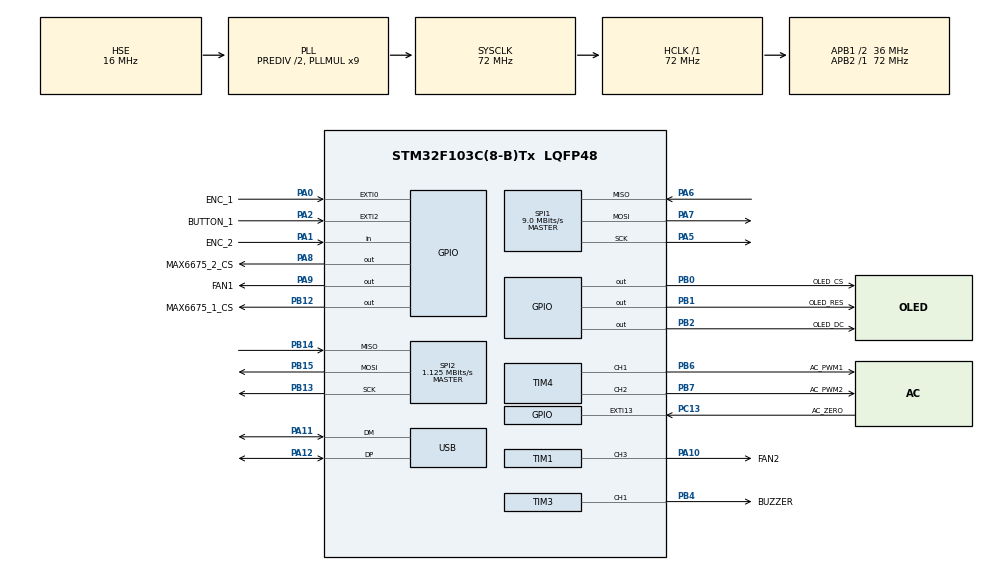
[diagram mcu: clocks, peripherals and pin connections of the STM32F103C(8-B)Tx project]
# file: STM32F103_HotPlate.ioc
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Dma.Request0=SPI1_TX
Dma.Request1=SPI2_RX
Dma.SPI1_TX.0.Direction=DMA_MEMORY_TO_PERIPH
Dma.SPI1_TX.0.Instance=DMA1_Channel3
Dma.SPI1_TX.0.MemDataAlignment=DMA_MDATAALIGN_BYTE
Dma.SPI1_TX.0.MemInc=DMA_MINC_ENABLE
Dma.SPI1_TX.0.Mode=DMA_NORMAL
Dma.SPI1_TX.0.PeriphDataAlignment=DMA_PDATAALIGN_BYTE
Dma.SPI1_TX.0.PeriphInc=DMA_PINC_DISABLE
Dma.SPI1_TX.0.Priority=DMA_PRIORITY_LOW
Dma.SPI2_RX.1.Direction=DMA_PERIPH_TO_MEMORY
Dma.SPI2_RX.1.Instance=DMA1_Channel4
Dma.SPI2_RX.1.MemDataAlignment=DMA_MDATAALIGN_BYTE
Dma.SPI2_RX.1.MemInc=DMA_MINC_ENABLE
Dma.SPI2_RX.1.Mode=DMA_NORMAL
Dma.SPI2_RX.1.PeriphDataAlignment=DMA_PDATAALIGN_BYTE
Dma.SPI2_RX.1.PeriphInc=DMA_PINC_DISABLE
Dma.SPI2_RX.1.Priority=DMA_PRIORITY_LOW
Mcu.Family=STM32F1
Mcu.Name=STM32F103C(8-B)Tx
Mcu.Package=LQFP48
NVIC.DMA1_Channel3_IRQn=true\:0\:0\:false\:false\:true\:false\:true\:true
NVIC.DMA1_Channel4_IRQn=true\:0\:0\:false\:false\:true\:false\:true\:true
NVIC.EXTI0_IRQn=true\:0\:0\:false\:false\:true\:true\:true\:true
NVIC.EXTI15_10_IRQn=true\:0\:0\:false\:false\:true\:true\:true\:true
NVIC.EXTI2_IRQn=true\:0\:0\:false\:false\:true\:true\:true\:true
NVIC.PriorityGroup=NVIC_PRIORITYGROUP_4
NVIC.SPI1_IRQn=true\:0\:0\:false\:false\:true\:true\:true\:true
NVIC.TIM2_IRQn=true\:0\:0\:false\:false\:true\:true\:true\:true
NVIC.USB_LP_CAN1_RX0_IRQn=true\:0\:0\:false\:false\:true\:true\:true\:true
PA0-WKUP.GPIO_Label=ENC_1
PA0-WKUP.Signal=GPXTI0
PA1.GPIO_Label=ENC_2
PA1.Signal=GPIO_Input
PA10.GPIO_Label=FAN2
PA10.Signal=S_TIM1_CH3
PA11.Mode=Device
PA11.Signal=USB_DM
PA12.Mode=Device
PA12.Signal=USB_DP
PA13.Mode=Serial_Wire
PA13.Signal=SYS_JTMS-SWDIO
PA14.Mode=Serial_Wire
PA14.Signal=SYS_JTCK-SWCLK
PA2.GPIO_Label=BUTTON_1
PA2.GPIO_ModeDefaultEXTI=GPIO_MODE_IT_RISING
PA2.GPIO_PuPd=GPIO_NOPULL
PA2.Signal=GPXTI2
PA5.Mode=Full_Duplex_Master
PA5.Signal=SPI1_SCK
PA6.Mode=Full_Duplex_Master
PA6.Signal=SPI1_MISO
PA7.Mode=Full_Duplex_Master
PA7.Signal=SPI1_MOSI
PA8.GPIO_Label=MAX6675_2_CS
PA8.Signal=GPIO_Output
PA9.GPIO_Label=FAN1
PA9.Signal=GPIO_Output
PB0.GPIO_Label=OLED_CS
PB0.Signal=GPIO_Output
PB1.GPIO_Label=OLED_RES
PB1.Signal=GPIO_Output
PB12.GPIO_Label=MAX6675_1_CS
PB12.Signal=GPIO_Output
PB13.Mode=Full_Duplex_Master
PB13.Signal=SPI2_SCK
PB14.Mode=Full_Duplex_Master
PB14.Signal=SPI2_MISO
PB15.Mode=Full_Duplex_Master
PB15.Signal=SPI2_MOSI
PB2.GPIO_Label=OLED_DC
PB2.Signal=GPIO_Output
PB4.GPIO_Label=BUZZER
PB4.Signal=S_TIM3_CH1
PB6.GPIO_Label=AC_PWM1
PB6.Signal=S_TIM4_CH1
PB7.GPIO_Label=AC_PWM2
PB7.Signal=S_TIM4_CH2
PC13-TAMPER-RTC.GPIO_Label=AC_ZERO
PC13-TAMPER-RTC.Signal=GPXTI13
PD0-OSC_IN.Mode=HSE-External-Oscillator
PD0-OSC_IN.Signal=RCC_OSC_IN
PD1-OSC_OUT.Mode=HSE-External-Oscillator
PD1-OSC_OUT.Signal=RCC_OSC_OUT
ProjectManager.HeapSize=0x200
ProjectManager.StackSize=0x400
ProjectManager.TargetToolchain=STM32CubeIDE
RCC.AHBFreq_Value=72000000
RCC.APB1CLKDivider=RCC_HCLK_DIV2
RCC.APB1Freq_Value=36000000
RCC.APB1TimFreq_Value=72000000
RCC.APB2Freq_Value=72000000
RCC.APB2TimFreq_Value=72000000
RCC.HCLKFreq_Value=72000000
RCC.HSEDivPLL=RCC_HSE_PREDIV_DIV2
RCC.HSE_VALUE=16000000
RCC.PLLMUL=RCC_PLL_MUL9
RCC.PLLSourceVirtual=RCC_PLLSOURCE_HSE
RCC.SYSCLKFreq_VALUE=72000000
RCC.SYSCLKSource=RCC_SYSCLKSOURCE_PLLCLK
RCC.USBFreq_Value=48000000
RCC.USBPrescaler=RCC_USBCLKSOURCE_PLL_DIV1_5
SH.S_TIM1_CH3.0=TIM1_CH3,Output Compare3 CH3
SH.S_TIM3_CH1.0=TIM3_CH1,PWM Generation1 CH1
SH.S_TIM4_CH1.0=TIM4_CH1,PWM Generation1 CH1
SH.S_TIM4_CH2.0=TIM4_CH2,PWM Generation2 CH2
SPI1.BaudRatePrescaler=SPI_BAUDRATEPRESCALER_8
SPI1.CalculateBaudRate=9.0 MBits/s
SPI1.Direction=SPI_DIRECTION_2LINES
SPI1.Mode=SPI_MODE_MASTER
SPI1.VirtualType=VM_MASTER
SPI2.BaudRatePrescaler=SPI_BAUDRATEPRESCALER_32
SPI2.CalculateBaudRate=1.125 MBits/s
SPI2.Direction=SPI_DIRECTION_2LINES
SPI2.Mode=SPI_MODE_MASTER
SPI2.VirtualType=VM_MASTER
TIM1.Channel-Output\ Compare3\ CH3=TIM_CHANNEL_3
TIM2.AutoReloadPreload=TIM_AUTORELOAD_PRELOAD_ENABLE
TIM2.Period=219
TIM2.Prescaler=9999
TIM3.Channel-PWM\ Generation1\ CH1=TIM_CHANNEL_1
TIM3.Period=17
TIM3.Prescaler=700
TIM4.Channel-PWM\ Generation1\ CH1=TIM_CHANNEL_1
TIM4.Channel-PWM\ Generation2\ CH2=TIM_CHANNEL_2
USB_DEVICE.APP_RX_DATA_SIZE=100
USB_DEVICE.APP_TX_DATA_SIZE=100
USB_DEVICE.CLASS_NAME_FS=CDC
USB_DEVICE.VirtualMode=Cdc
USB_DEVICE.VirtualModeFS=Cdc_FS
VP_TIM2_VS_ClockSourceINT.Mode=Internal
VP_USB_DEVICE_VS_USB_DEVICE_CDC_FS.Mode=CDC_FS
board=custom

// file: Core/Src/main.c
/* USER CODE BEGIN Header */
/**
  ******************************************************************************
  * @file           : main.c
  * @brief          : Main program body
  ******************************************************************************
  * @attention
  *
  * Copyright (c) 2022 STMicroelectronics.
  * All rights reserved.
  *
  * This software is licensed under terms that can be found in the LICENSE file
  * in the root directory of this software component.
  * If no LICENSE file comes with this software, it is provided AS-IS.
  *
  ******************************************************************************
  */
/* USER CODE END Header */
#include "main.h"
#include "usb_device.h"

/* USER CODE BEGIN Includes */
#include <stdio.h>
#include "oled_ssd1306.h"
#include "buzzer.h"
#include "max6675.h"
#include "usbd_cdc_if.h"
#include "pid.h"
/* USER CODE END Includes */

SPI_HandleTypeDef hspi1;
SPI_HandleTypeDef hspi2;
DMA_HandleTypeDef hdma_spi1_tx;
DMA_HandleTypeDef hdma_spi2_rx;

TIM_HandleTypeDef htim1;
TIM_HandleTypeDef htim2;
TIM_HandleTypeDef htim3;
TIM_HandleTypeDef htim4;

/* USER CODE BEGIN PV */
#define MENU_POS_COUNT 3 //number of menu items

extern uint8_t oledRefreshActiveFlag;

uint16_t MessageLength = 0;
uint8_t TxBuffer[40];
uint8_t RxBuffer[40];

uint8_t buf[32];

double bedTemperature = 0;
double expectedBedTemperature = 0;
double pcbTemperature = 0;

int16_t menuPos = 1;
int16_t menuYPos = 0;
uint8_t menuActiveFlag = 1;
uint8_t buttonFlag = 0;

//
double bedPower = 0;

// PID
PID_TypeDef bedTempPID;
double bedTempPIDSetpoint = 0.0;

uint8_t readTemperatureFlag = 0;
/* USER CODE END PV */

void SystemClock_Config(void);
static void MX_GPIO_Init(void);
static void MX_DMA_Init(void);
static void MX_SPI1_Init(void);
static void MX_SPI2_Init(void);
static void MX_TIM1_Init(void);
static void MX_TIM2_Init(void);
static void MX_TIM3_Init(void);
static void MX_TIM4_Init(void);
/* USER CODE BEGIN PFP */
void click_callback(uint8_t direction);
/* USER CODE END PFP */

/* USER CODE BEGIN 0 */
void HAL_TIM_PeriodElapsedCallback(TIM_HandleTypeDef *htim){
	if(htim->Instance == TIM2){
		oledRefreshActiveFlag = 1;
		oledRefreshAll(&hspi1);
	}
}

void HAL_SPI_TxCpltCallback(SPI_HandleTypeDef *hspi){
	oledRefreshAll(&hspi1);
}

void HAL_GPIO_EXTI_Callback(uint16_t GPIO_Pin){
	if(GPIO_Pin == BUTTON_1_Pin){
		if(buttonFlag == 0){ //debouncing
			buttonFlag = 1;
			if(menuActiveFlag == 1){
					click_callback(2);
				}
			beep(500, 30);
		}
	}
	if(GPIO_Pin == ENC_1_Pin){
		beep(1500, 10);
		if(HAL_GPIO_ReadPin(ENC_2_GPIO_Port, ENC_2_Pin) == GPIO_PIN_SET){
			click_callback(0);
		} else {
			click_callback(1);
		}
	}

}

uint8_t station_init(void){
	uint8_t errorFlag = 0;
	char errorDescription[20];
	uint16_t bufTemp;

	uint8_t status = max6675_read_temperature(&hspi2, MAX6675_1_CS_GPIO_Port, MAX6675_1_CS_Pin, &bufTemp);
	if(status != 0){
		errorFlag = 1;
		sprintf(errorDescription, "temp sensor 1");
	}
    status = max6675_read_temperature(&hspi2, MAX6675_2_CS_GPIO_Port, MAX6675_2_CS_Pin, &bufTemp);
    if(status != 0){
		errorFlag = 1;
		sprintf(errorDescription, "temp sensor 2");
	}
    return errorFlag;
}

void read_bed_temperature(double *temperature){
	uint16_t bufTemp;

	max6675_read_temperature(&hspi2, MAX6675_2_CS_GPIO_Port, MAX6675_2_CS_Pin, &bufTemp);
	*temperature = (double)bufTemp;
}

void read_pcb_temperature(double *temperature){
	uint16_t bufTemp;

	max6675_read_temperature(&hspi2, MAX6675_1_CS_GPIO_Port, MAX6675_1_CS_Pin, &bufTemp);
	*temperature = (double)bufTemp;
}

void display_menu_line(int8_t x, int8_t y, const uint8_t *text){
	#define FONT_HEIGHT 18

	oledDispTxt(x, y, text, Font_11x18, 1);
	oledDrawHorizontalLine(y -1, 0);
	oledDrawHorizontalLine(y + FONT_HEIGHT + 1, 0);
}

void display_main_menu(uint8_t position){
	#define CENTER_POS (64/2) - (18/2) //displayHeight/2 - fontSize/2
	#define SPACING 27
	uint8_t xPos = 25;

	position--;

	oledDrawHorizontalBox((-position * SPACING) + CENTER_POS - SPACING, 18, 0); //clear box
	for(uint8_t i=28; i<33; i++){ //selected point
		for(uint8_t q=0; q<3; q++){
			oledDrawPoint(q, i, 1);
		}
	}
	sprintf((char*)buf,"Solder  ");
	if(position == 0){xPos = 7;} else {xPos = 25;}
	display_menu_line(xPos, (-position * SPACING) + CENTER_POS, buf);
	sprintf((char*)buf,"Preheat ");
	if(position == 1){xPos = 7;} else {xPos = 25;}
	display_menu_line(xPos, (-position * SPACING) + SPACING + CENTER_POS, buf);
	sprintf((char*)buf,"Reflow  ");
	if(position == 2){xPos = 7;} else {xPos = 25;}
	display_menu_line(xPos, (-position * SPACING) + SPACING*2 + CENTER_POS, buf);
	sprintf((char*)buf,"Settings");
	if(position == 3){xPos = 7;} else {xPos = 25;}
	display_menu_line(xPos, (-position * SPACING) + SPACING*3 + CENTER_POS, buf);
	oledDrawHorizontalBox((-position * SPACING) + SPACING*4 + CENTER_POS, 18, 0); //clear box
}

void display_submenu_1(uint16_t mainPos, uint16_t position){
	#define CENTER_POS (64/2) - (18/2) //displayHeight/2 - fontSize/2
	#define SPACING 27
	uint8_t xPos = 25;

	position--;

	oledDrawHorizontalBox((-position * SPACING) + CENTER_POS - SPACING, 18, 0); //clear box
		for(uint8_t i=28; i<33; i++){ //selected point
			for(uint8_t q=0; q<3; q++){
				oledDrawPoint(q, i, 1);
			}
		}
	sprintf((char*)buf,"Set temp  ");
	if(position == 0){xPos = 7;} else {xPos = 25;}
	display_menu_line(xPos, (-position * SPACING) + CENTER_POS, buf);
	sprintf((char*)buf,"Start     ");
	if(position == 1){xPos = 7;} else {xPos = 25;}
	display_menu_line(xPos, (-position * SPACING) + SPACING + CENTER_POS, buf);
	sprintf((char*)buf,"Back      ");
	if(position == 2){xPos = 7;} else {xPos = 25;}
	display_menu_line(xPos, (-position * SPACING) + SPACING*2 + CENTER_POS, buf);
	oledDrawHorizontalBox((-position * SPACING) + SPACING*3 + CENTER_POS, 18, 0); //clear box
}

void display_preheat_set(void){
	if(readTemperatureFlag == 0){
		readTemperatureFlag = 1;
	}
	sprintf((char*)buf, "Set temp: ");
	oledDispTxt(0, 2, buf, Font_11x18, 1);
	if(bedTemperature < 100){
		sprintf((char*)buf," %.0f*C  ", expectedBedTemperature);
	} else {
		sprintf((char*)buf,"%.0f*C  ", expectedBedTemperature);
	}
	oledDispTxt(33, 35, buf, Font_11x18, 1);
}

void display_preheat_start(void){
	if(readTemperatureFlag == 0){
		readTemperatureFlag = 1;
	}
	sprintf((char*)buf, "Bed temp: ");
	oledDispTxt(0, 2, buf, Font_11x18, 1);
	if(bedTemperature < 100){
		sprintf((char*)buf," %.0f*C  ", bedTemperature);
	} else {
		sprintf((char*)buf,"%.0f*C  ", bedTemperature);
	}
	oledDispTxt(33, 35, buf, Font_11x18, 1);
}

void display_menu(void){
	if(menuPos >=100 && menuPos < 1000){
		if(menuPos == 122){
			display_preheat_start();
		}else if(menuPos == 112){
			display_preheat_set();
		}
	}else if(menuPos >=10 && menuPos < 100){
		uint16_t subMenuPos = menuPos / 10;
		uint16_t mainMenuPos = menuPos % 10;
		if(mainMenuPos == 2){
			display_submenu_1(mainMenuPos, subMenuPos);
		}
	} else if(menuPos < 10){
		display_main_menu(menuPos);
	}
}

// direction 0-left(-)  1-right(+)  2-OK
void click_callback(uint8_t direction){
	if(menuPos >=100 && menuPos < 1000){
		if(direction == 0){
			if(menuPos > 200){
				menuPos -= 100;
			}
		} else if(direction == 1){
				menuPos += 100;
		} else { //OK
			if(menuPos == 122){ //if back
				menuPos = 12;
				oledDisplayCls(0);
				readTemperatureFlag = 0;

			}
		}
	}else if(menuPos >=10 && menuPos < 100){
		if(direction == 0){
			if(menuPos > 20){
				menuPos -= 10;
			}
		} else if(direction == 1){
				menuPos += 10;
		} else { //OK
			if(menuPos == 32){ //if back
				menuPos = menuPos - ((menuPos / 10)*10);
			} else {
				menuPos += 100;
				oledDisplayCls(0);
			}
		}
	} else if(menuPos < 10){
		if(direction == 0){
			if(menuPos > 1){
				menuPos--;
			}
		} else if(direction == 1){
				menuPos++;
		} else { //OK
			menuPos += 10;
			oledDisplayCls(0);
		}
	}
}
/* USER CODE END 0 */

int main(void)
{

  /* MCU Configuration--------------------------------------------------------*/

  /* Reset of all peripherals, Initializes the Flash interface and the Systick. */
  HAL_Init();

  /* Configure the system clock */
  SystemClock_Config();

  /* Initialize all configured peripherals */
  MX_GPIO_Init();
  MX_DMA_Init();
  MX_SPI1_Init();
  MX_SPI2_Init();
  MX_TIM1_Init();
  MX_TIM2_Init();
  MX_TIM3_Init();
  MX_TIM4_Init();
  MX_USB_DEVICE_Init();
  /* USER CODE BEGIN 2 */
  	HAL_GPIO_WritePin(MAX6675_1_CS_GPIO_Port, MAX6675_1_CS_Pin, 1);
  	HAL_GPIO_WritePin(MAX6675_2_CS_GPIO_Port, MAX6675_2_CS_Pin, 1);

  	HAL_TIM_Base_Start_IT(&htim2);

  	oledInit(&hspi1, 1);
  	sprintf((char*)buf,"HOT");
  	oledDispTxt(40, 0, buf, Font_16x26, 1);
  	sprintf((char*)buf,"PLATE");
  	oledDispTxt(20, 25, buf, Font_16x26, 1);
  	sprintf((char*)buf,"ver.1.0");
  	oledDispTxt(74, 54, buf, Font_7x10, 1);
  	oledRefreshActiveFlag = 1;
  	oledRefreshAll(&hspi1);

  	beep(1400, 20);
  	beep_callback(&htim3, TIM_CHANNEL_1);

  	station_init();
	HAL_Delay(200);
	oledDisplayCls(0);

	//PID
	bedTempPIDSetpoint = 0.0;
	//PID(&bedTempPID, &bedTemperature, &bedPower, &bedTempPIDSetpoint, 0.8, 0.7, 0.8, _PID_P_ON_E, _PID_CD_REVERSE);
	//PID_SetMode(&bedTempPID, _PID_MODE_AUTOMATIC);
	//PID_SetSampleTime(&bedTempPID, 1); //1ms refresh time
	//PID_SetOutputLimits(&bedTempPID, 11, 300);
	//---
	//PID_Compute(&PowerPID); //calculate PID - in timer
	//---
  /* USER CODE END 2 */

  /* Infinite loop */
  /* USER CODE BEGIN WHILE */
  while (1)
  {
	  display_menu();

	  HAL_Delay(200);
	  beep_callback(&htim3, TIM_CHANNEL_1);
	  buttonFlag = 0; //debouncing

	  if(readTemperatureFlag == 1){
		  read_bed_temperature(&bedTemperature);
		  read_pcb_temperature(&pcbTemperature);
	  }
	  MessageLength = sprintf((char*) TxBuffer, "%i -> bed:%.0f / pcb:%.0f\n\r", menuPos, bedTemperature, pcbTemperature);
	  CDC_Transmit_FS(TxBuffer, MessageLength);
    /* USER CODE END WHILE */

  }
}

void SystemClock_Config(void)
{
  RCC_OscInitTypeDef RCC_OscInitStruct = {0};
  RCC_ClkInitTypeDef RCC_ClkInitStruct = {0};
  RCC_PeriphCLKInitTypeDef PeriphClkInit = {0};

  /** Initializes the RCC Oscillators according to the specified parameters
  * in the RCC_OscInitTypeDef structure.
  */
  RCC_OscInitStruct.OscillatorType = RCC_OSCILLATORTYPE_HSE;
  RCC_OscInitStruct.HSEState = RCC_HSE_ON;
  RCC_OscInitStruct.HSEPredivValue = RCC_HSE_PREDIV_DIV2;
  RCC_OscInitStruct.HSIState = RCC_HSI_ON;
  RCC_OscInitStruct.PLL.PLLState = RCC_PLL_ON;
  RCC_OscInitStruct.PLL.PLLSource = RCC_PLLSOURCE_HSE;
  RCC_OscInitStruct.PLL.PLLMUL = RCC_PLL_MUL9;
  if (HAL_RCC_OscConfig(&RCC_OscInitStruct) != HAL_OK)
  {
    Error_Handler();
  }

  /** Initializes the CPU, AHB and APB buses clocks
  */
  RCC_ClkInitStruct.ClockType = RCC_CLOCKTYPE_HCLK|RCC_CLOCKTYPE_SYSCLK
                              |RCC_CLOCKTYPE_PCLK1|RCC_CLOCKTYPE_PCLK2;
  RCC_ClkInitStruct.SYSCLKSource = RCC_SYSCLKSOURCE_PLLCLK;
  RCC_ClkInitStruct.AHBCLKDivider = RCC_SYSCLK_DIV1;
  RCC_ClkInitStruct.APB1CLKDivider = RCC_HCLK_DIV2;
  RCC_ClkInitStruct.APB2CLKDivider = RCC_HCLK_DIV1;

  if (HAL_RCC_ClockConfig(&RCC_ClkInitStruct, FLASH_LATENCY_2) != HAL_OK)
  {
    Error_Handler();
  }
  PeriphClkInit.PeriphClockSelection = RCC_PERIPHCLK_USB;
  PeriphClkInit.UsbClockSelection = RCC_USBCLKSOURCE_PLL_DIV1_5;
  if (HAL_RCCEx_PeriphCLKConfig(&PeriphClkInit) != HAL_OK)
  {
    Error_Handler();
  }
}

static void MX_SPI1_Init(void)
{

  /* SPI1 parameter configuration*/
  hspi1.Instance = SPI1;
  hspi1.Init.Mode = SPI_MODE_MASTER;
  hspi1.Init.Direction = SPI_DIRECTION_2LINES;
  hspi1.Init.DataSize = SPI_DATASIZE_8BIT;
  hspi1.Init.CLKPolarity = SPI_POLARITY_LOW;
  hspi1.Init.CLKPhase = SPI_PHASE_1EDGE;
  hspi1.Init.NSS = SPI_NSS_SOFT;
  hspi1.Init.BaudRatePrescaler = SPI_BAUDRATEPRESCALER_8;
  hspi1.Init.FirstBit = SPI_FIRSTBIT_MSB;
  hspi1.Init.TIMode = SPI_TIMODE_DISABLE;
  hspi1.Init.CRCCalculation = SPI_CRCCALCULATION_DISABLE;
  hspi1.Init.CRCPolynomial = 10;
  if (HAL_SPI_Init(&hspi1) != HAL_OK)
  {
    Error_Handler();
  }

}

static void MX_SPI2_Init(void)
{

  /* SPI2 parameter configuration*/
  hspi2.Instance = SPI2;
  hspi2.Init.Mode = SPI_MODE_MASTER;
  hspi2.Init.Direction = SPI_DIRECTION_2LINES;
  hspi2.Init.DataSize = SPI_DATASIZE_8BIT;
  hspi2.Init.CLKPolarity = SPI_POLARITY_LOW;
  hspi2.Init.CLKPhase = SPI_PHASE_1EDGE;
  hspi2.Init.NSS = SPI_NSS_SOFT;
  hspi2.Init.BaudRatePrescaler = SPI_BAUDRATEPRESCALER_32;
  hspi2.Init.FirstBit = SPI_FIRSTBIT_MSB;
  hspi2.Init.TIMode = SPI_TIMODE_DISABLE;
  hspi2.Init.CRCCalculation = SPI_CRCCALCULATION_DISABLE;
  hspi2.Init.CRCPolynomial = 10;
  if (HAL_SPI_Init(&hspi2) != HAL_OK)
  {
    Error_Handler();
  }

}

static void MX_TIM1_Init(void)
{

  TIM_MasterConfigTypeDef sMasterConfig = {0};
  TIM_OC_InitTypeDef sConfigOC = {0};
  TIM_BreakDeadTimeConfigTypeDef sBreakDeadTimeConfig = {0};

  htim1.Instance = TIM1;
  htim1.Init.Prescaler = 0;
  htim1.Init.CounterMode = TIM_COUNTERMODE_UP;
  htim1.Init.Period = 65535;
  htim1.Init.ClockDivision = TIM_CLOCKDIVISION_DIV1;
  htim1.Init.RepetitionCounter = 0;
  htim1.Init.AutoReloadPreload = TIM_AUTORELOAD_PRELOAD_DISABLE;
  if (HAL_TIM_OC_Init(&htim1) != HAL_OK)
  {
    Error_Handler();
  }
  sMasterConfig.MasterOutputTrigger = TIM_TRGO_RESET;
  sMasterConfig.MasterSlaveMode = TIM_MASTERSLAVEMODE_DISABLE;
  if (HAL_TIMEx_MasterConfigSynchronization(&htim1, &sMasterConfig) != HAL_OK)
  {
    Error_Handler();
  }
  sConfigOC.OCMode = TIM_OCMODE_TIMING;
  sConfigOC.Pulse = 0;
  sConfigOC.OCPolarity = TIM_OCPOLARITY_HIGH;
  sConfigOC.OCNPolarity = TIM_OCNPOLARITY_HIGH;
  sConfigOC.OCFastMode = TIM_OCFAST_DISABLE;
  sConfigOC.OCIdleState = TIM_OCIDLESTATE_RESET;
  sConfigOC.OCNIdleState = TIM_OCNIDLESTATE_RESET;
  if (HAL_TIM_OC_ConfigChannel(&htim1, &sConfigOC, TIM_CHANNEL_3) != HAL_OK)
  {
    Error_Handler();
  }
  sBreakDeadTimeConfig.OffStateRunMode = TIM_OSSR_DISABLE;
  sBreakDeadTimeConfig.OffStateIDLEMode = TIM_OSSI_DISABLE;
  sBreakDeadTimeConfig.LockLevel = TIM_LOCKLEVEL_OFF;
  sBreakDeadTimeConfig.DeadTime = 0;
  sBreakDeadTimeConfig.BreakState = TIM_BREAK_DISABLE;
  sBreakDeadTimeConfig.BreakPolarity = TIM_BREAKPOLARITY_HIGH;
  sBreakDeadTimeConfig.AutomaticOutput = TIM_AUTOMATICOUTPUT_DISABLE;
  if (HAL_TIMEx_ConfigBreakDeadTime(&htim1, &sBreakDeadTimeConfig) != HAL_OK)
  {
    Error_Handler();
  }
  HAL_TIM_MspPostInit(&htim1);

}

static void MX_TIM2_Init(void)
{

  TIM_ClockConfigTypeDef sClockSourceConfig = {0};
  TIM_MasterConfigTypeDef sMasterConfig = {0};

  htim2.Instance = TIM2;
  htim2.Init.Prescaler = 9999;
  htim2.Init.CounterMode = TIM_COUNTERMODE_UP;
  htim2.Init.Period = 219;
  htim2.Init.ClockDivision = TIM_CLOCKDIVISION_DIV1;
  htim2.Init.AutoReloadPreload = TIM_AUTORELOAD_PRELOAD_ENABLE;
  if (HAL_TIM_Base_Init(&htim2) != HAL_OK)
  {
    Error_Handler();
  }
  sClockSourceConfig.ClockSource = TIM_CLOCKSOURCE_INTERNAL;
  if (HAL_TIM_ConfigClockSource(&htim2, &sClockSourceConfig) != HAL_OK)
  {
    Error_Handler();
  }
  sMasterConfig.MasterOutputTrigger = TIM_TRGO_RESET;
  sMasterConfig.MasterSlaveMode = TIM_MASTERSLAVEMODE_DISABLE;
  if (HAL_TIMEx_MasterConfigSynchronization(&htim2, &sMasterConfig) != HAL_OK)
  {
    Error_Handler();
  }

}

static void MX_TIM3_Init(void)
{

  TIM_MasterConfigTypeDef sMasterConfig = {0};
  TIM_OC_InitTypeDef sConfigOC = {0};

  htim3.Instance = TIM3;
  htim3.Init.Prescaler = 700;
  htim3.Init.CounterMode = TIM_COUNTERMODE_UP;
  htim3.Init.Period = 17;
  htim3.Init.ClockDivision = TIM_CLOCKDIVISION_DIV1;
  htim3.Init.AutoReloadPreload = TIM_AUTORELOAD_PRELOAD_DISABLE;
  if (HAL_TIM_PWM_Init(&htim3) != HAL_OK)
  {
    Error_Handler();
  }
  sMasterConfig.MasterOutputTrigger = TIM_TRGO_RESET;
  sMasterConfig.MasterSlaveMode = TIM_MASTERSLAVEMODE_DISABLE;
  if (HAL_TIMEx_MasterConfigSynchronization(&htim3, &sMasterConfig) != HAL_OK)
  {
    Error_Handler();
  }
  sConfigOC.OCMode = TIM_OCMODE_PWM1;
  sConfigOC.Pulse = 0;
  sConfigOC.OCPolarity = TIM_OCPOLARITY_HIGH;
  sConfigOC.OCFastMode = TIM_OCFAST_DISABLE;
  if (HAL_TIM_PWM_ConfigChannel(&htim3, &sConfigOC, TIM_CHANNEL_1) != HAL_OK)
  {
    Error_Handler();
  }
  HAL_TIM_MspPostInit(&htim3);

}

static void MX_TIM4_Init(void)
{

  TIM_MasterConfigTypeDef sMasterConfig = {0};
  TIM_OC_InitTypeDef sConfigOC = {0};

  htim4.Instance = TIM4;
  htim4.Init.Prescaler = 0;
  htim4.Init.CounterMode = TIM_COUNTERMODE_UP;
  htim4.Init.Period = 65535;
  htim4.Init.ClockDivision = TIM_CLOCKDIVISION_DIV1;
  htim4.Init.AutoReloadPreload = TIM_AUTORELOAD_PRELOAD_DISABLE;
  if (HAL_TIM_PWM_Init(&htim4) != HAL_OK)
  {
    Error_Handler();
  }
  sMasterConfig.MasterOutputTrigger = TIM_TRGO_RESET;
  sMasterConfig.MasterSlaveMode = TIM_MASTERSLAVEMODE_DISABLE;
  if (HAL_TIMEx_MasterConfigSynchronization(&htim4, &sMasterConfig) != HAL_OK)
  {
    Error_Handler();
  }
  sConfigOC.OCMode = TIM_OCMODE_PWM1;
  sConfigOC.Pulse = 0;
  sConfigOC.OCPolarity = TIM_OCPOLARITY_HIGH;
  sConfigOC.OCFastMode = TIM_OCFAST_DISABLE;
  if (HAL_TIM_PWM_ConfigChannel(&htim4, &sConfigOC, TIM_CHANNEL_1) != HAL_OK)
  {
    Error_Handler();
  }
  if (HAL_TIM_PWM_ConfigChannel(&htim4, &sConfigOC, TIM_CHANNEL_2) != HAL_OK)
  {
    Error_Handler();
  }
  HAL_TIM_MspPostInit(&htim4);

}

static void MX_DMA_Init(void)
{

  /* DMA controller clock enable */
  __HAL_RCC_DMA1_CLK_ENABLE();

  /* DMA interrupt init */
  /* DMA1_Channel3_IRQn interrupt configuration */
  HAL_NVIC_SetPriority(DMA1_Channel3_IRQn, 0, 0);
  HAL_NVIC_EnableIRQ(DMA1_Channel3_IRQn);
  /* DMA1_Channel4_IRQn interrupt configuration */
  HAL_NVIC_SetPriority(DMA1_Channel4_IRQn, 0, 0);
  HAL_NVIC_EnableIRQ(DMA1_Channel4_IRQn);

}

static void MX_GPIO_Init(void)
{
  GPIO_InitTypeDef GPIO_InitStruct = {0};

  /* GPIO Ports Clock Enable */
  __HAL_RCC_GPIOC_CLK_ENABLE();
  __HAL_RCC_GPIOD_CLK_ENABLE();
  __HAL_RCC_GPIOA_CLK_ENABLE();
  __HAL_RCC_GPIOB_CLK_ENABLE();

  /*Configure GPIO pin Output Level */
  HAL_GPIO_WritePin(GPIOB, OLED_CS_Pin|OLED_RES_Pin|OLED_DC_Pin|MAX6675_1_CS_Pin, GPIO_PIN_RESET);

  /*Configure GPIO pin Output Level */
  HAL_GPIO_WritePin(GPIOA, MAX6675_2_CS_Pin|FAN1_Pin, GPIO_PIN_RESET);

  /*Configure GPIO pin : AC_ZERO_Pin */
  GPIO_InitStruct.Pin = AC_ZERO_Pin;
  GPIO_InitStruct.Mode = GPIO_MODE_IT_RISING;
  GPIO_InitStruct.Pull = GPIO_NOPULL;
  HAL_GPIO_Init(AC_ZERO_GPIO_Port, &GPIO_InitStruct);

  /*Configure GPIO pins : ENC_1_Pin BUTTON_1_Pin */
  GPIO_InitStruct.Pin = ENC_1_Pin|BUTTON_1_Pin;
  GPIO_InitStruct.Mode = GPIO_MODE_IT_RISING;
  GPIO_InitStruct.Pull = GPIO_NOPULL;
  HAL_GPIO_Init(GPIOA, &GPIO_InitStruct);

  /*Configure GPIO pin : ENC_2_Pin */
  GPIO_InitStruct.Pin = ENC_2_Pin;
  GPIO_InitStruct.Mode = GPIO_MODE_INPUT;
  GPIO_InitStruct.Pull = GPIO_NOPULL;
  HAL_GPIO_Init(ENC_2_GPIO_Port, &GPIO_InitStruct);

  /*Configure GPIO pins : OLED_CS_Pin OLED_RES_Pin OLED_DC_Pin MAX6675_1_CS_Pin */
  GPIO_InitStruct.Pin = OLED_CS_Pin|OLED_RES_Pin|OLED_DC_Pin|MAX6675_1_CS_Pin;
  GPIO_InitStruct.Mode = GPIO_MODE_OUTPUT_PP;
  GPIO_InitStruct.Pull = GPIO_NOPULL;
  GPIO_InitStruct.Speed = GPIO_SPEED_FREQ_LOW;
  HAL_GPIO_Init(GPIOB, &GPIO_InitStruct);

  /*Configure GPIO pins : MAX6675_2_CS_Pin FAN1_Pin */
  GPIO_InitStruct.Pin = MAX6675_2_CS_Pin|FAN1_Pin;
  GPIO_InitStruct.Mode = GPIO_MODE_OUTPUT_PP;
  GPIO_InitStruct.Pull = GPIO_NOPULL;
  GPIO_InitStruct.Speed = GPIO_SPEED_FREQ_LOW;
  HAL_GPIO_Init(GPIOA, &GPIO_InitStruct);

  /* EXTI interrupt init*/
  HAL_NVIC_SetPriority(EXTI0_IRQn, 0, 0);
  HAL_NVIC_EnableIRQ(EXTI0_IRQn);

  HAL_NVIC_SetPriority(EXTI2_IRQn, 0, 0);
  HAL_NVIC_EnableIRQ(EXTI2_IRQn);

  HAL_NVIC_SetPriority(EXTI15_10_IRQn, 0, 0);
  HAL_NVIC_EnableIRQ(EXTI15_10_IRQn);

}

void Error_Handler(void)
{
  __disable_irq();
  while (1)
  {
  }
}
